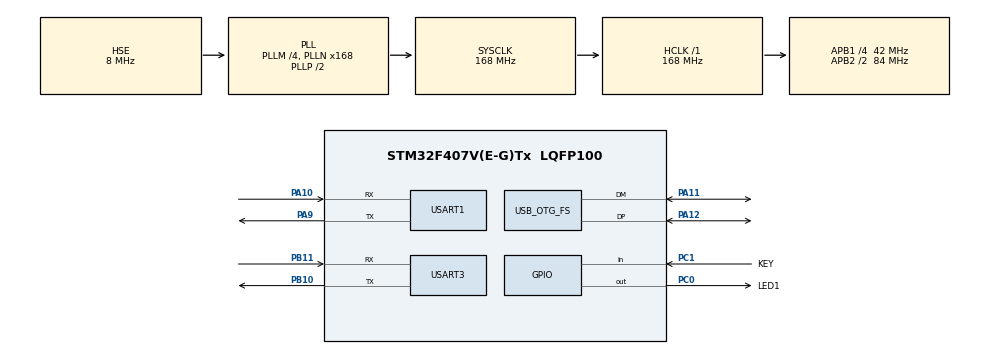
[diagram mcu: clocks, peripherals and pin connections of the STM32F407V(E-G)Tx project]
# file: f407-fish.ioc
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Dma.Request0=USART1_TX
Dma.Request1=USART1_RX
Dma.Request2=USART3_RX
Dma.Request3=USART3_TX
Dma.USART1_RX.1.Direction=DMA_PERIPH_TO_MEMORY
Dma.USART1_RX.1.FIFOMode=DMA_FIFOMODE_DISABLE
Dma.USART1_RX.1.Instance=DMA2_Stream2
Dma.USART1_RX.1.MemDataAlignment=DMA_MDATAALIGN_BYTE
Dma.USART1_RX.1.MemInc=DMA_MINC_ENABLE
Dma.USART1_RX.1.Mode=DMA_CIRCULAR
Dma.USART1_RX.1.PeriphDataAlignment=DMA_PDATAALIGN_BYTE
Dma.USART1_RX.1.PeriphInc=DMA_PINC_DISABLE
Dma.USART1_RX.1.Priority=DMA_PRIORITY_LOW
Dma.USART1_TX.0.Direction=DMA_MEMORY_TO_PERIPH
Dma.USART1_TX.0.FIFOMode=DMA_FIFOMODE_DISABLE
Dma.USART1_TX.0.Instance=DMA2_Stream7
Dma.USART1_TX.0.MemDataAlignment=DMA_MDATAALIGN_BYTE
Dma.USART1_TX.0.MemInc=DMA_MINC_ENABLE
Dma.USART1_TX.0.Mode=DMA_NORMAL
Dma.USART1_TX.0.PeriphDataAlignment=DMA_PDATAALIGN_BYTE
Dma.USART1_TX.0.PeriphInc=DMA_PINC_DISABLE
Dma.USART1_TX.0.Priority=DMA_PRIORITY_LOW
Dma.USART3_RX.2.Direction=DMA_PERIPH_TO_MEMORY
Dma.USART3_RX.2.FIFOMode=DMA_FIFOMODE_DISABLE
Dma.USART3_RX.2.Instance=DMA1_Stream1
Dma.USART3_RX.2.MemDataAlignment=DMA_MDATAALIGN_BYTE
Dma.USART3_RX.2.MemInc=DMA_MINC_ENABLE
Dma.USART3_RX.2.Mode=DMA_NORMAL
Dma.USART3_RX.2.PeriphDataAlignment=DMA_PDATAALIGN_BYTE
Dma.USART3_RX.2.PeriphInc=DMA_PINC_DISABLE
Dma.USART3_RX.2.Priority=DMA_PRIORITY_LOW
Dma.USART3_TX.3.Direction=DMA_MEMORY_TO_PERIPH
Dma.USART3_TX.3.FIFOMode=DMA_FIFOMODE_DISABLE
Dma.USART3_TX.3.Instance=DMA1_Stream3
Dma.USART3_TX.3.MemDataAlignment=DMA_MDATAALIGN_BYTE
Dma.USART3_TX.3.MemInc=DMA_MINC_ENABLE
Dma.USART3_TX.3.Mode=DMA_NORMAL
Dma.USART3_TX.3.PeriphDataAlignment=DMA_PDATAALIGN_BYTE
Dma.USART3_TX.3.PeriphInc=DMA_PINC_DISABLE
Dma.USART3_TX.3.Priority=DMA_PRIORITY_LOW
Mcu.Family=STM32F4
Mcu.Name=STM32F407V(E-G)Tx
Mcu.Package=LQFP100
NVIC.DMA1_Stream1_IRQn=true\:0\:0\:false\:false\:true\:false\:true\:true
NVIC.DMA1_Stream3_IRQn=true\:0\:0\:false\:false\:true\:false\:true\:true
NVIC.DMA2_Stream2_IRQn=true\:0\:0\:false\:false\:true\:false\:true\:true
NVIC.DMA2_Stream7_IRQn=true\:0\:0\:false\:false\:true\:false\:true\:true
NVIC.OTG_FS_IRQn=true\:0\:0\:false\:false\:true\:false\:true\:true
NVIC.PriorityGroup=NVIC_PRIORITYGROUP_4
NVIC.USART1_IRQn=true\:0\:0\:false\:false\:true\:false\:true\:true
PA10.Mode=Asynchronous
PA10.Signal=USART1_RX
PA11.Mode=Device_Only
PA11.Signal=USB_OTG_FS_DM
PA12.Mode=Device_Only
PA12.Signal=USB_OTG_FS_DP
PA13.Mode=Serial_Wire
PA13.Signal=SYS_JTMS-SWDIO
PA14.Mode=Serial_Wire
PA14.Signal=SYS_JTCK-SWCLK
PA9.Mode=Asynchronous
PA9.Signal=USART1_TX
PB10.Mode=Asynchronous
PB10.Signal=USART3_TX
PB11.Mode=Asynchronous
PB11.Signal=USART3_RX
PC0.GPIO_Label=LED1
PC0.GPIO_PuPd=GPIO_PULLUP
PC0.Signal=GPIO_Output
PC1.GPIO_Label=KEY
PC1.GPIO_PuPd=GPIO_PULLUP
PC1.Signal=GPIO_Input
PH0-OSC_IN.Mode=HSE-External-Oscillator
PH0-OSC_IN.Signal=RCC_OSC_IN
PH1-OSC_OUT.Mode=HSE-External-Oscillator
PH1-OSC_OUT.Signal=RCC_OSC_OUT
ProjectManager.HeapSize=0x200
ProjectManager.StackSize=0x400
ProjectManager.TargetToolchain=MDK-ARM V5.32
RCC.48MHZClocksFreq_Value=48000000
RCC.AHBFreq_Value=168000000
RCC.APB1CLKDivider=RCC_HCLK_DIV4
RCC.APB1Freq_Value=42000000
RCC.APB1TimFreq_Value=84000000
RCC.APB2CLKDivider=RCC_HCLK_DIV2
RCC.APB2Freq_Value=84000000
RCC.APB2TimFreq_Value=168000000
RCC.CortexFreq_Value=168000000
RCC.HCLKFreq_Value=168000000
RCC.HSE_VALUE=8000000
RCC.HSI_VALUE=16000000
RCC.LSE_VALUE=32768
RCC.PLLM=4
RCC.PLLN=168
RCC.PLLQ=7
RCC.SYSCLKFreq_VALUE=168000000
RCC.SYSCLKSource=RCC_SYSCLKSOURCE_PLLCLK
RCC.VCOOutputFreq_Value=336000000
USART1.VirtualMode=VM_ASYNC
USART3.VirtualMode=VM_ASYNC
USB_DEVICE.CLASS_NAME_FS=CDC
USB_DEVICE.VirtualMode-CDC_FS=Cdc
USB_DEVICE.VirtualModeFS=Cdc_FS
USB_OTG_FS.VirtualMode=Device_Only
VP_USB_DEVICE_VS_USB_DEVICE_CDC_FS.Mode=CDC_FS
board=custom

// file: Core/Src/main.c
/* USER CODE BEGIN Header */
/**
  ******************************************************************************
  * @file           : main.c
  * @brief          : Main program body
  ******************************************************************************
  * @attention
  *
  * Copyright (c) 2026 STMicroelectronics.
  * All rights reserved.
  *
  * This software is licensed under terms that can be found in the LICENSE file
  * in the root directory of this software component.
  * If no LICENSE file comes with this software, it is provided AS-IS.
  *
  ******************************************************************************
  */
/* USER CODE END Header */
#include "main.h"
#include "dma.h"
#include "usart.h"
#include "usb_device.h"
#include "gpio.h"

/* USER CODE BEGIN Includes */
#include "Emm_V5_App.h"
#include "Emm_V5.h"
#include "Uart1_Dma.h"

/* USER CODE END Includes */

/* USER CODE BEGIN PD */
#define MAKE_SPEED_MAX_RPM          (5000U)
#define MAKE_POS_ACC                (EMM_GIMBAL_DEFAULT_ACC)
#define MAKE_POS_PULSE_PER_REV      (3200U)
#define MAKE_POS_IS_ABSOLUTE        (false)
#define MAKE_POS_SYNC_FLAG          (false)

/* USER CODE END PD */

void SystemClock_Config(void);
/* USER CODE BEGIN PFP */
void make1(float speed, float weizhi);
void make2(float speed, float weizhi);

/* USER CODE END PFP */

/* USER CODE BEGIN 0 */
static uint16_t make_speed_to_rpm(float speed)
{
  if (speed <= 0.0f) {
    return 0U;
  }

  if (speed > (float)MAKE_SPEED_MAX_RPM) {
    speed = (float)MAKE_SPEED_MAX_RPM;
  }

  return (uint16_t)(speed + 0.5f);
}

static uint32_t make_angle_to_pulse(float angle_deg)
{
  float abs_angle = (angle_deg >= 0.0f) ? angle_deg : -angle_deg;

  return (uint32_t)((abs_angle * (float)MAKE_POS_PULSE_PER_REV / 360.0f) + 0.5f);
}

static uint8_t make_dir_from_angle(float angle_deg, bool invert)
{
  uint8_t dir = (angle_deg >= 0.0f) ? EMM_GIMBAL_DIR_CW : EMM_GIMBAL_DIR_CCW;

  if (invert) {
    dir = (dir == EMM_GIMBAL_DIR_CW) ? EMM_GIMBAL_DIR_CCW : EMM_GIMBAL_DIR_CW;
  }

  return dir;
}

static void make_axis(uint8_t addr, bool invert, float speed, float weizhi)
{
  uint16_t vel_rpm = make_speed_to_rpm(speed);
  uint32_t clk = make_angle_to_pulse(weizhi);

  if ((vel_rpm == 0U) || (clk == 0U)) {
    return;
  }

  Emm_V5_Pos_Control(addr,
                     make_dir_from_angle(weizhi, invert),
                     vel_rpm,
                     MAKE_POS_ACC,
                     clk,
                     MAKE_POS_IS_ABSOLUTE,
                     MAKE_POS_SYNC_FLAG);
}

void make1(float speed, float weizhi)
{
  make_axis(EMM_GIMBAL_PAN_MOTOR_ADDR, (EMM_GIMBAL_PAN_DIR_INVERT != 0U), speed, weizhi);
}

void make2(float speed, float weizhi)
{
  make_axis(EMM_GIMBAL_TILT_MOTOR_ADDR, (EMM_GIMBAL_TILT_DIR_INVERT != 0U), speed, weizhi);
}

/* USER CODE END 0 */

int main(void)
{

  /* MCU Configuration--------------------------------------------------------*/

  /* Reset of all peripherals, Initializes the Flash interface and the Systick. */
  HAL_Init();

  /* Configure the system clock */
  SystemClock_Config();

  /* Initialize all configured peripherals */
  MX_GPIO_Init();
  MX_DMA_Init();
  MX_USART1_UART_Init();
  MX_USB_DEVICE_Init();
  MX_USART3_UART_Init();
  /* USER CODE BEGIN 2 */
    //  Emm_V5_Vel_Control(2U, 0U, 100U, 100U, false);

		// 	Emm_V5_Vel_Control(1U, 0U, 100U, 100U, false);

  UART1_DmaCommInit();

  /* 等待 EMM 驱动器上电就绪（关键！不等的话后面指令全部丢失） */
  HAL_Delay(500);

  Emm_V5_App_Init();

  /* ---- 开机测试动作：直接用底层函数，和能跑的程序一样 ---- */
  HAL_Delay(200);
  Emm_V5_Pos_Control(0x01, 0, 200, 80, 44, false, false);  /* 1号 CW 5度 */
  HAL_Delay(5);
  Emm_V5_Pos_Control(0x02, 0, 200, 80, 44, false, false);  /* 2号 CW 5度 */
  HAL_Delay(1000);
  Emm_V5_Pos_Control(0x01, 1, 200, 80, 44, false, false);  /* 1号 CCW 5度 */
  HAL_Delay(5);
  Emm_V5_Pos_Control(0x02, 1, 200, 80, 44, false, false);  /* 2号 CCW 5度 */
  HAL_Delay(1000);

  /* USER CODE END 2 */

  /* Infinite loop */
  while (1)
  {

    /* USER CODE BEGIN 3 */
    Emm_V5_App_Task();
  }
  /* USER CODE END 3 */
}

void SystemClock_Config(void)
{
  RCC_OscInitTypeDef RCC_OscInitStruct = {0};
  RCC_ClkInitTypeDef RCC_ClkInitStruct = {0};

  /** Configure the main internal regulator output voltage
  */
  __HAL_RCC_PWR_CLK_ENABLE();
  __HAL_PWR_VOLTAGESCALING_CONFIG(PWR_REGULATOR_VOLTAGE_SCALE1);

  /** Initializes the RCC Oscillators according to the specified parameters
  * in the RCC_OscInitTypeDef structure.
  */
  RCC_OscInitStruct.OscillatorType = RCC_OSCILLATORTYPE_HSE;
  RCC_OscInitStruct.HSEState = RCC_HSE_ON;
  RCC_OscInitStruct.PLL.PLLState = RCC_PLL_ON;
  RCC_OscInitStruct.PLL.PLLSource = RCC_PLLSOURCE_HSE;
  RCC_OscInitStruct.PLL.PLLM = 4;
  RCC_OscInitStruct.PLL.PLLN = 168;
  RCC_OscInitStruct.PLL.PLLP = RCC_PLLP_DIV2;
  RCC_OscInitStruct.PLL.PLLQ = 7;
  if (HAL_RCC_OscConfig(&RCC_OscInitStruct) != HAL_OK)
  {
    Error_Handler();
  }

  /** Initializes the CPU, AHB and APB buses clocks
  */
  RCC_ClkInitStruct.ClockType = RCC_CLOCKTYPE_HCLK|RCC_CLOCKTYPE_SYSCLK
                              |RCC_CLOCKTYPE_PCLK1|RCC_CLOCKTYPE_PCLK2;
  RCC_ClkInitStruct.SYSCLKSource = RCC_SYSCLKSOURCE_PLLCLK;
  RCC_ClkInitStruct.AHBCLKDivider = RCC_SYSCLK_DIV1;
  RCC_ClkInitStruct.APB1CLKDivider = RCC_HCLK_DIV4;
  RCC_ClkInitStruct.APB2CLKDivider = RCC_HCLK_DIV2;

  if (HAL_RCC_ClockConfig(&RCC_ClkInitStruct, FLASH_LATENCY_5) != HAL_OK)
  {
    Error_Handler();
  }
}

void Error_Handler(void)
{
  __disable_irq();
  while (1)
  {
  }
}
